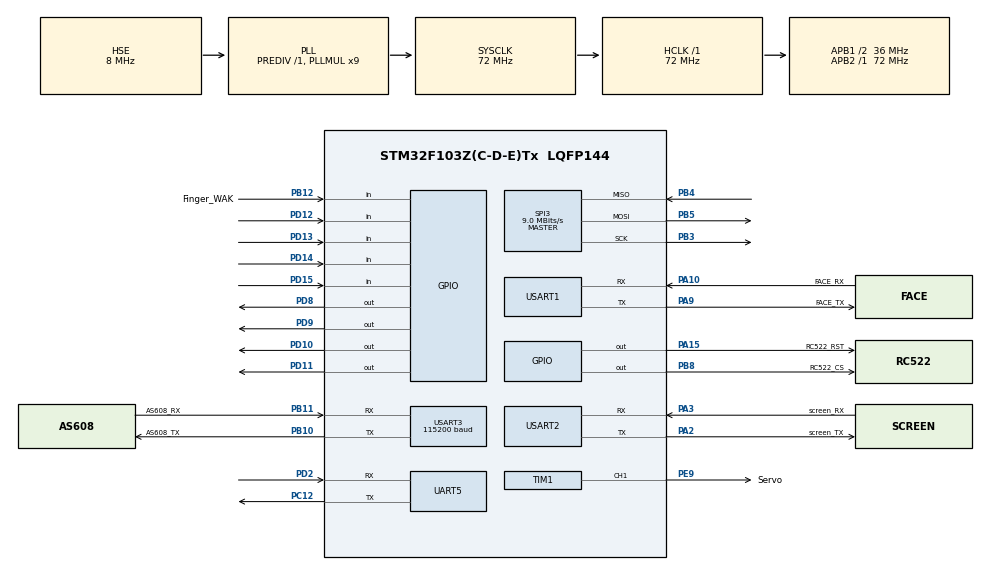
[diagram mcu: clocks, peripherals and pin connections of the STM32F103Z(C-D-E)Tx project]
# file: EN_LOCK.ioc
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Mcu.Family=STM32F1
Mcu.Name=STM32F103Z(C-D-E)Tx
Mcu.Package=LQFP144
NVIC.PriorityGroup=NVIC_PRIORITYGROUP_4
NVIC.TIM1_CC_IRQn=true\:0\:0\:true\:false\:true\:true\:true\:true
NVIC.USART3_IRQn=true\:0\:0\:true\:false\:true\:true\:true\:true
OSC_IN.Mode=HSE-External-Oscillator
OSC_IN.Signal=RCC_OSC_IN
OSC_OUT.Mode=HSE-External-Oscillator
OSC_OUT.Signal=RCC_OSC_OUT
PA10.GPIO_Label=FACE_RX
PA10.Mode=Asynchronous
PA10.Signal=USART1_RX
PA13.Mode=Serial_Wire
PA13.Signal=SYS_JTMS-SWDIO
PA14.Mode=Serial_Wire
PA14.Signal=SYS_JTCK-SWCLK
PA15.GPIO_Label=RC522_RST
PA15.Signal=GPIO_Output
PA2.GPIO_Label=screen_TX
PA2.Mode=Asynchronous
PA2.Signal=USART2_TX
PA3.GPIO_Label=screen_RX
PA3.Mode=Asynchronous
PA3.Signal=USART2_RX
PA9.GPIO_Label=FACE_TX
PA9.Mode=Asynchronous
PA9.Signal=USART1_TX
PB10.GPIO_Label=AS608_TX
PB10.Mode=Asynchronous
PB10.Signal=USART3_TX
PB11.GPIO_Label=AS608_RX
PB11.Mode=Asynchronous
PB11.Signal=USART3_RX
PB12.GPIO_Label=Finger_WAK
PB12.GPIO_PuPd=GPIO_PULLDOWN
PB12.Signal=GPIO_Input
PB3.Mode=Full_Duplex_Master
PB3.Signal=SPI3_SCK
PB4.Mode=Full_Duplex_Master
PB4.Signal=SPI3_MISO
PB5.Mode=Full_Duplex_Master
PB5.Signal=SPI3_MOSI
PB8.GPIO_Label=RC522_CS
PB8.Signal=GPIO_Output
PC12.Mode=Asynchronous
PC12.Signal=UART5_TX
PD10.GPIO_Speed=GPIO_SPEED_FREQ_MEDIUM
PD10.Signal=GPIO_Output
PD11.GPIO_Speed=GPIO_SPEED_FREQ_MEDIUM
PD11.Signal=GPIO_Output
PD12.GPIO_PuPd=GPIO_NOPULL
PD12.Signal=GPIO_Input
PD13.Signal=GPIO_Input
PD14.Signal=GPIO_Input
PD15.Signal=GPIO_Input
PD2.Mode=Asynchronous
PD2.Signal=UART5_RX
PD8.GPIO_Speed=GPIO_SPEED_FREQ_MEDIUM
PD8.Signal=GPIO_Output
PD9.GPIO_Speed=GPIO_SPEED_FREQ_MEDIUM
PD9.Signal=GPIO_Output
PE9.GPIO_Label=Servo
PE9.Signal=S_TIM1_CH1
ProjectManager.HeapSize=0x200
ProjectManager.StackSize=0x400
ProjectManager.TargetToolchain=MDK-ARM V5.32
RCC.AHBFreq_Value=72000000
RCC.APB1CLKDivider=RCC_HCLK_DIV2
RCC.APB1Freq_Value=36000000
RCC.APB1TimFreq_Value=72000000
RCC.APB2Freq_Value=72000000
RCC.APB2TimFreq_Value=72000000
RCC.HCLKFreq_Value=72000000
RCC.PLLMUL=RCC_PLL_MUL9
RCC.PLLSourceVirtual=RCC_PLLSOURCE_HSE
RCC.SYSCLKFreq_VALUE=72000000
RCC.SYSCLKSource=RCC_SYSCLKSOURCE_PLLCLK
RCC.USBFreq_Value=72000000
SH.S_TIM1_CH1.0=TIM1_CH1,PWM Generation1 CH1
SPI3.BaudRatePrescaler=SPI_BAUDRATEPRESCALER_4
SPI3.CalculateBaudRate=9.0 MBits/s
SPI3.Direction=SPI_DIRECTION_2LINES
SPI3.Mode=SPI_MODE_MASTER
SPI3.VirtualType=VM_MASTER
TIM1.Channel-PWM\ Generation1\ CH1=TIM_CHANNEL_1
TIM1.Period=20000-1
TIM1.Prescaler=72-1
UART5.VirtualMode=Asynchronous
USART1.VirtualMode=VM_ASYNC
USART2.VirtualMode=VM_ASYNC
USART3.BaudRate=115200
USART3.VirtualMode=VM_ASYNC
VP_TIM1_VS_ClockSourceINT.Mode=Internal
board=custom

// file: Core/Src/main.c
/* USER CODE BEGIN Header */
/**
  ******************************************************************************
  * @file           : main.c
  * @brief          : Main program body
  ******************************************************************************
  * @attention
  *
  * Copyright (c) 2023 STMicroelectronics.
  * All rights reserved.
  *
  * This software is licensed under terms that can be found in the LICENSE file
  * in the root directory of this software component.
  * If no LICENSE file comes with this software, it is provided AS-IS.
  *
  ******************************************************************************
  */
/* USER CODE END Header */
#include "main.h"
#include "spi.h"
#include "tim.h"
#include "usart.h"
#include "gpio.h"

/* USER CODE BEGIN Includes */

#include "Servo.h"
#include "FaceID.h"
#include "keyboard.h"
#include "Serial_screen.h"
#include "RC522.H"
#include "printf.h"
#include "stdio.h"
#include "string.h"
#include "as608.h"
#include "flash.h"
/* USER CODE END Includes */

void SystemClock_Config(void);

/* USER CODE BEGIN 0 */
uint8_t res=0;
uint8_t success[1]={0x77}; //ָ��ע��ɹ�
/* USER CODE END 0 */

int main(void)
{

  /* MCU Configuration--------------------------------------------------------*/

  /* Reset of all peripherals, Initializes the Flash interface and the Systick. */
  HAL_Init();

  /* Configure the system clock */
  SystemClock_Config();

  /* Initialize all configured peripherals */
  MX_GPIO_Init();
  MX_TIM1_Init();
  MX_USART1_UART_Init();
  MX_USART2_UART_Init();
  MX_SPI3_Init();
  MX_UART5_Init();
  MX_USART3_UART_Init();
  /* USER CODE BEGIN 2 */
	HAL_TIM_PWM_Start(&htim1,TIM_CHANNEL_1);
  RC522_Init();
	res = as608_init();
	HAL_Delay(1000);//�ϵ���ʱ
	face_init();
  /* USER CODE END 2 */

  /* Infinite loop */
  while (1)
  {

    /* USER CODE BEGIN 3 */
    // д�� Flash
		switch(Serial_Screen())
		{
			case 1:      //�������
				Door_On;
			break;
			case 2:
				if(Add_FR())//����ָ��
						Door_On;
			break;
			case 3:
				if(Face_verification())  //������֤
						Door_On;
			break;
			case 4:
				if(Face_registration())  //����ע��
						Door_On;
			case 5:
				if(press_FR())           //ָ����֤
					Door_On;
			break;
		}
		face_init();
		if(IC_Attest()==1) //NFCˢ��
		{
			Door_On;
		}
  }
  /* USER CODE END 3 */
}

void SystemClock_Config(void)
{
  RCC_OscInitTypeDef RCC_OscInitStruct = {0};
  RCC_ClkInitTypeDef RCC_ClkInitStruct = {0};

  /** Initializes the RCC Oscillators according to the specified parameters
  * in the RCC_OscInitTypeDef structure.
  */
  RCC_OscInitStruct.OscillatorType = RCC_OSCILLATORTYPE_HSE;
  RCC_OscInitStruct.HSEState = RCC_HSE_ON;
  RCC_OscInitStruct.HSEPredivValue = RCC_HSE_PREDIV_DIV1;
  RCC_OscInitStruct.HSIState = RCC_HSI_ON;
  RCC_OscInitStruct.PLL.PLLState = RCC_PLL_ON;
  RCC_OscInitStruct.PLL.PLLSource = RCC_PLLSOURCE_HSE;
  RCC_OscInitStruct.PLL.PLLMUL = RCC_PLL_MUL9;
  if (HAL_RCC_OscConfig(&RCC_OscInitStruct) != HAL_OK)
  {
    Error_Handler();
  }

  /** Initializes the CPU, AHB and APB buses clocks
  */
  RCC_ClkInitStruct.ClockType = RCC_CLOCKTYPE_HCLK|RCC_CLOCKTYPE_SYSCLK
                              |RCC_CLOCKTYPE_PCLK1|RCC_CLOCKTYPE_PCLK2;
  RCC_ClkInitStruct.SYSCLKSource = RCC_SYSCLKSOURCE_PLLCLK;
  RCC_ClkInitStruct.AHBCLKDivider = RCC_SYSCLK_DIV1;
  RCC_ClkInitStruct.APB1CLKDivider = RCC_HCLK_DIV2;
  RCC_ClkInitStruct.APB2CLKDivider = RCC_HCLK_DIV1;

  if (HAL_RCC_ClockConfig(&RCC_ClkInitStruct, FLASH_LATENCY_2) != HAL_OK)
  {
    Error_Handler();
  }
}

void Error_Handler(void)
{
  __disable_irq();
  while (1)
  {
  }
}
